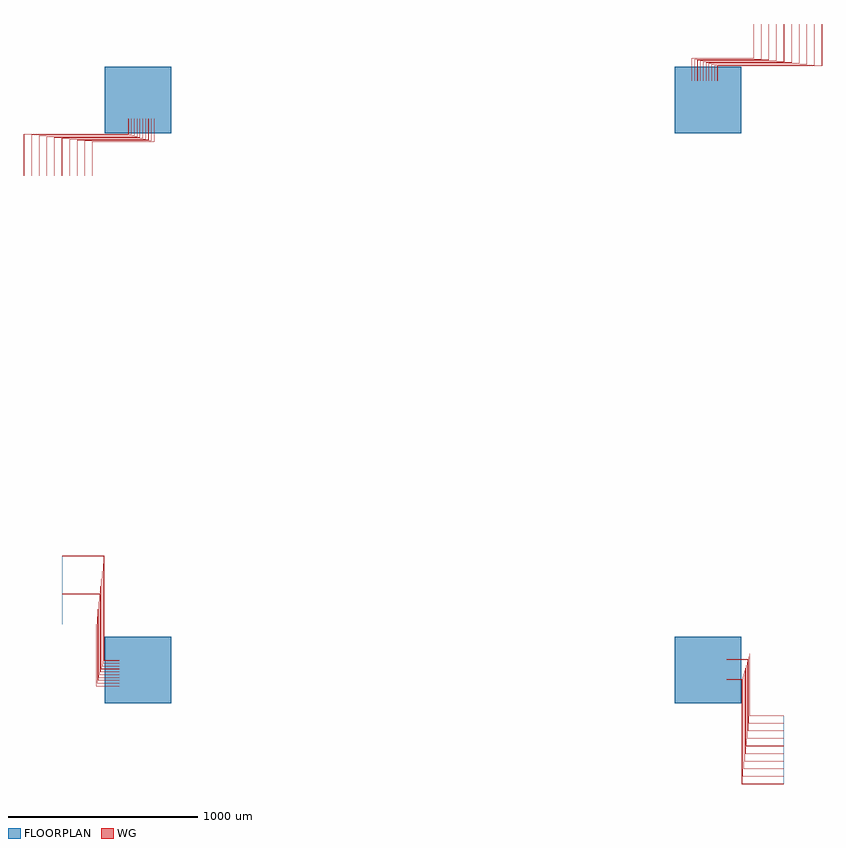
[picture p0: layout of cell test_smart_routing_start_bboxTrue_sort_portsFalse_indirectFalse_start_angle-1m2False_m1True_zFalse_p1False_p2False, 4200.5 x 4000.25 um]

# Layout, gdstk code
import gdstk
lib = gdstk.Library(unit=1e-6, precision=1e-09)
def R(c, l, rs):  # rectangles x0, y0, x1, y1
    for r in rs: c.add(gdstk.rectangle(r[:2], r[2:], *l))
def P(c, l, *ps):  # polygons
    for p in ps: c.add(gdstk.Polygon(p, *l))
WG = (1, 0)
FLOORPLAN = (10, 0)

test_smart_routing_start = lib.new_cell('test_smart_routing_start_bboxTrue_sort_portsFalse_indirectFalse_start_angle-1m2False_m1True_zFalse_p1False_p2False')
P(test_smart_routing_start, WG, [(-179.5,49.75),(-179.5,599.75),(-400,599.75),(-400,600.25),(-179,600.25),(-179,50.25),(-100,50.25),(-100,49.75)],
  [(-184,34.75),(-184,559.75),(-400,559.75),(-400,560.25),(-183.5,560.25),(-183.5,35.25),(-100,35.25),(-100,34.75)],
  [(-188.5,19.75),(-188.5,519.75),(-400,519.75),(-400,520.25),(-188,520.25),(-188,20.25),(-100,20.25),(-100,19.75)],
  [(-193,4.75),(-193,479.75),(-400,479.75),(-400,480.25),(-192.5,480.25),(-192.5,5.25),(-100,5.25),(-100,4.75)],
  [(-197.5,-10.25),(-197.5,439.75),(-400,439.75),(-400,440.25),(-197,440.25),(-197,-9.75),(-100,-9.75),(-100,-10.25)],
  [(-202,-25.25),(-202,399.75),(-400,399.75),(-400,400.25),(-201.5,400.25),(-201.5,-24.75),(-100,-24.75),(-100,-25.25)],
  [(-206.5,-40.25),(-206.5,359.75),(-400,359.75),(-400,360.25),(-206,360.25),(-206,-39.75),(-100,-39.75),(-100,-40.25)],
  [(-211,-55.25),(-211,319.75),(-400,319.75),(-400,320.25),(-210.5,320.25),(-210.5,-54.75),(-100,-54.75),(-100,-55.25)],
  [(-215.5,-70.25),(-215.5,279.75),(-400,279.75),(-400,280.25),(-215,280.25),(-215,-69.75),(-100,-69.75),(-100,-70.25)],
  [(-220,-85.25),(-220,239.75),(-400,239.75),(-400,240.25),(-219.5,240.25),(-219.5,-84.75),(-100,-84.75),(-100,-85.25)],
  [(-600.25,2600),(-600.25,2821),(-50.25,2821),(-50.25,2900),(-49.75,2900),(-49.75,2820.5),(-599.75,2820.5),(-599.75,2600)],
  [(-560.25,2600),(-560.25,2816.5),(-35.25,2816.5),(-35.25,2900),(-34.75,2900),(-34.75,2816),(-559.75,2816),(-559.75,2600)],
  [(-520.25,2600),(-520.25,2812),(-20.25,2812),(-20.25,2900),(-19.75,2900),(-19.75,2811.5),(-519.75,2811.5),(-519.75,2600)],
  [(-480.25,2600),(-480.25,2807.5),(-5.25,2807.5),(-5.25,2900),(-4.75,2900),(-4.75,2807),(-479.75,2807),(-479.75,2600)],
  [(-440.25,2600),(-440.25,2803),(9.75,2803),(9.75,2900),(10.25,2900),(10.25,2802.5),(-439.75,2802.5),(-439.75,2600)],
  [(-400.25,2600),(-400.25,2798.5),(24.75,2798.5),(24.75,2900),(25.25,2900),(25.25,2798),(-399.75,2798),(-399.75,2600)],
  [(-360.25,2600),(-360.25,2794),(39.75,2794),(39.75,2900),(40.25,2900),(40.25,2793.5),(-359.75,2793.5),(-359.75,2600)],
  [(-320.25,2600),(-320.25,2789.5),(54.75,2789.5),(54.75,2900),(55.25,2900),(55.25,2789),(-319.75,2789),(-319.75,2600)],
  [(-280.25,2600),(-280.25,2785),(69.75,2785),(69.75,2900),(70.25,2900),(70.25,2784.5),(-279.75,2784.5),(-279.75,2600)],
  [(-240.25,2600),(-240.25,2780.5),(84.75,2780.5),(84.75,2900),(85.25,2900),(85.25,2780),(-239.75,2780),(-239.75,2600)],
  [(3179,-600.25),(3179,-50.25),(3100,-50.25),(3100,-49.75),(3179.5,-49.75),(3179.5,-599.75),(3400,-599.75),(3400,-600.25)],
  [(3183.5,-560.25),(3183.5,-35.25),(3100,-35.25),(3100,-34.75),(3184,-34.75),(3184,-559.75),(3400,-559.75),(3400,-560.25)],
  [(3188,-520.25),(3188,-20.25),(3100,-20.25),(3100,-19.75),(3188.5,-19.75),(3188.5,-519.75),(3400,-519.75),(3400,-520.25)],
  [(3192.5,-480.25),(3192.5,-5.25),(3100,-5.25),(3100,-4.75),(3193,-4.75),(3193,-479.75),(3400,-479.75),(3400,-480.25)],
  [(3197,-440.25),(3197,9.75),(3100,9.75),(3100,10.25),(3197.5,10.25),(3197.5,-439.75),(3400,-439.75),(3400,-440.25)],
  [(3201.5,-400.25),(3201.5,24.75),(3100,24.75),(3100,25.25),(3202,25.25),(3202,-399.75),(3400,-399.75),(3400,-400.25)],
  [(3206,-360.25),(3206,39.75),(3100,39.75),(3100,40.25),(3206.5,40.25),(3206.5,-359.75),(3400,-359.75),(3400,-360.25)],
  [(3210.5,-320.25),(3210.5,54.75),(3100,54.75),(3100,55.25),(3211,55.25),(3211,-319.75),(3400,-319.75),(3400,-320.25)],
  [(3215,-280.25),(3215,69.75),(3100,69.75),(3100,70.25),(3215.5,70.25),(3215.5,-279.75),(3400,-279.75),(3400,-280.25)],
  [(3219.5,-240.25),(3219.5,84.75),(3100,84.75),(3100,85.25),(3220,85.25),(3220,-239.75),(3400,-239.75),(3400,-240.25)],
  [(3049.75,3100),(3049.75,3179.5),(3599.75,3179.5),(3599.75,3400),(3600.25,3400),(3600.25,3179),(3050.25,3179),(3050.25,3100)],
  [(3034.75,3100),(3034.75,3184),(3559.75,3184),(3559.75,3400),(3560.25,3400),(3560.25,3183.5),(3035.25,3183.5),(3035.25,3100)],
  [(3019.75,3100),(3019.75,3188.5),(3519.75,3188.5),(3519.75,3400),(3520.25,3400),(3520.25,3188),(3020.25,3188),(3020.25,3100)],
  [(3004.75,3100),(3004.75,3193),(3479.75,3193),(3479.75,3400),(3480.25,3400),(3480.25,3192.5),(3005.25,3192.5),(3005.25,3100)],
  [(2989.75,3100),(2989.75,3197.5),(3439.75,3197.5),(3439.75,3400),(3440.25,3400),(3440.25,3197),(2990.25,3197),(2990.25,3100)],
  [(2974.75,3100),(2974.75,3202),(3399.75,3202),(3399.75,3400),(3400.25,3400),(3400.25,3201.5),(2975.25,3201.5),(2975.25,3100)],
  [(2959.75,3100),(2959.75,3206.5),(3359.75,3206.5),(3359.75,3400),(3360.25,3400),(3360.25,3206),(2960.25,3206),(2960.25,3100)],
  [(2944.75,3100),(2944.75,3211),(3319.75,3211),(3319.75,3400),(3320.25,3400),(3320.25,3210.5),(2945.25,3210.5),(2945.25,3100)],
  [(2929.75,3100),(2929.75,3215.5),(3279.75,3215.5),(3279.75,3400),(3280.25,3400),(3280.25,3215),(2930.25,3215),(2930.25,3100)],
  [(2914.75,3100),(2914.75,3220),(3239.75,3220),(3239.75,3400),(3240.25,3400),(3240.25,3219.5),(2915.25,3219.5),(2915.25,3100)])
R(test_smart_routing_start, FLOORPLAN, [(-175,-175,175,175), (2825,-175,3175,175), (-175,2825,175,3175), (2825,2825,3175,3175)])
P(test_smart_routing_start, FLOORPLAN, [(-400,240),(-400,600),(-400,600),(-400,240)],
  [(-600,2600),(-600,2600),(-240,2600),(-240,2600)],
  [(3400,-600),(3400,-240),(3400,-240),(3400,-600)],
  [(3240,3400),(3240,3400),(3600,3400),(3600,3400)])

lib.write_gds('test_smart_routing_start_bboxTrue_sort_portsFalse_indirectFalse_start_angle-1m2False_m1True_zFalse_p1False_p2False.gds')
